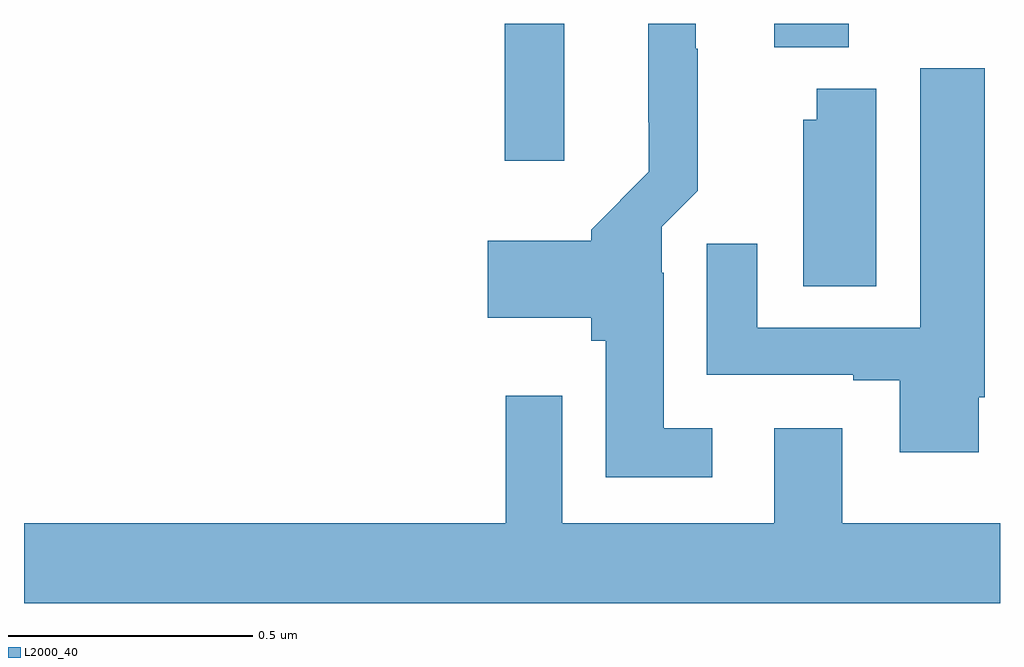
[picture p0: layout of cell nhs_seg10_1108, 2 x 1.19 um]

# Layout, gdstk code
import gdstk
lib = gdstk.Library(unit=1e-6, precision=1e-09)
def R(c, l, rs):  # rectangles x0, y0, x1, y1
    for r in rs: c.add(gdstk.rectangle(r[:2], r[2:], *l))
def P(c, l, *ps):  # polygons
    for p in ps: c.add(gdstk.Polygon(p, *l))
L2000_40 = (2000, 40)

nhs_seg10_1108 = lib.new_cell('nhs_seg10_1108')
R(nhs_seg10_1108, L2000_40, [(124.985,1305.219,125.107,1305.5), (125.537,1305.452,125.69,1305.5)])
P(nhs_seg10_1108, L2000_40, [(125.41,1304.671),(125.311,1304.671),(125.311,1304.99),(125.307,1304.99),(125.307,1305.084),(125.381,1305.158),(125.381,1305.449),(125.377,1305.449),(125.377,1305.5),(125.279,1305.5),(125.279,1305.298),(125.28,1305.298),(125.28,1305.196),(125.162,1305.078),(125.162,1305.055),(124.95,1305.055),(124.95,1304.897),(125.162,1304.897),(125.162,1304.85),(125.192,1304.85),(125.192,1304.57),(125.41,1304.57)],
  [(125.956,1304.734),(125.969,1304.734),(125.969,1305.409),(125.837,1305.409),(125.837,1304.877),(125.503,1304.877),(125.503,1305.049),(125.399,1305.049),(125.399,1304.781),(125.699,1304.781),(125.699,1304.769),(125.795,1304.769),(125.795,1304.622),(125.956,1304.622)],
  [(125.746,1305.367),(125.624,1305.367),(125.624,1305.303),(125.597,1305.303),(125.597,1304.962),(125.746,1304.962)],
  [(126,1304.476),(125.677,1304.476),(125.677,1304.671),(125.537,1304.671),(125.537,1304.476),(125.103,1304.476),(125.103,1304.737),(124.987,1304.737),(124.987,1304.476),(124,1304.476),(124,1304.312),(126,1304.312)])

lib.write_gds('nhs_seg10_1108.gds')
